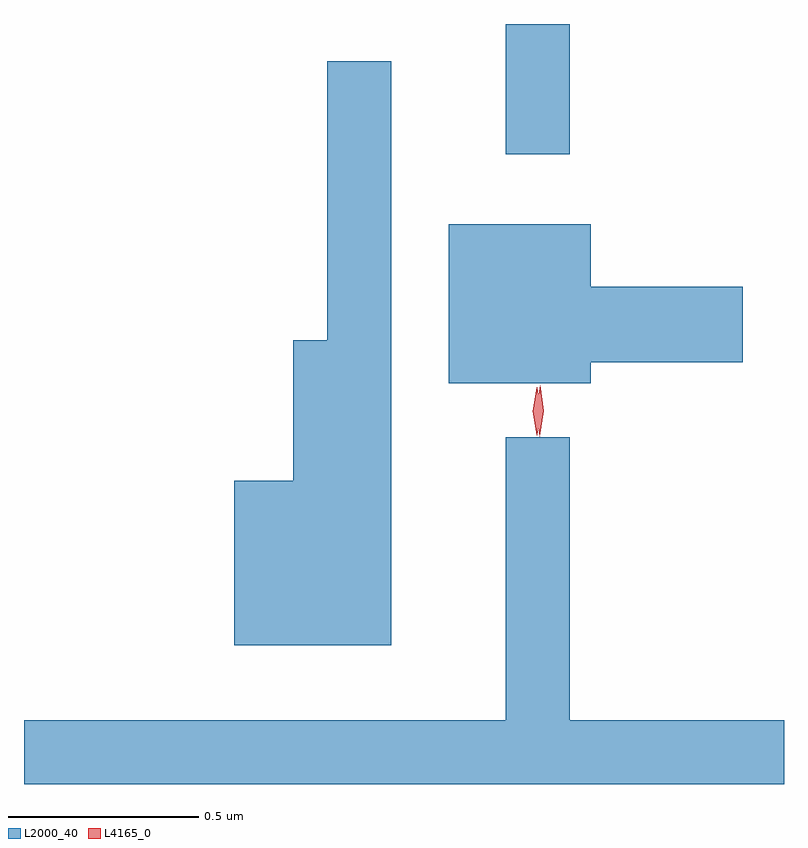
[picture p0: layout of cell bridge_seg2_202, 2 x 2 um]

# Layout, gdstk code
import gdstk
lib = gdstk.Library(unit=1e-6, precision=1e-09)
def R(c, l, rs):  # rectangles x0, y0, x1, y1
    for r in rs: c.add(gdstk.rectangle(r[:2], r[2:], *l))
def P(c, l, *ps):  # polygons
    for p in ps: c.add(gdstk.Polygon(p, *l))
L2000_40 = (2000, 40)
L4165_0 = (4165, 0)

bridge_seg2_202 = lib.new_cell('bridge_seg2_202')
R(bridge_seg2_202, L2000_40, [(818.741,1005.673,818.909,1006.016)])
P(bridge_seg2_202, L2000_40, [(818.439,1005.918),(818.271,1005.918),(818.271,1005.184),(818.181,1005.184),(818.181,1004.814),(818.026,1004.814),(818.026,1004.381),(818.439,1004.381)],
  [(818.964,1005.126),(819.364,1005.126),(819.364,1005.324),(818.964,1005.324),(818.964,1005.489),(818.591,1005.489),(818.591,1005.071),(818.964,1005.071)],
  [(819.473,1004.184),(818.909,1004.184),(818.909,1004.928),(818.741,1004.928),(818.741,1004.184),(817.473,1004.184),(817.473,1004.016),(819.473,1004.016)])
P(bridge_seg2_202, L4165_0, [(818.83,1004.93),(818.83,1004.931),(818.821,1004.998),(818.831,1005.065),(818.832,1005.066),(818.832,1005.065),(818.841,1004.998),(818.83,1004.931)],
  [(818.822,1004.934),(818.822,1004.934),(818.812,1004.997),(818.822,1005.06),(818.822,1005.06),(818.823,1005.06),(818.832,1004.997),(818.823,1004.934)])

lib.write_gds('bridge_seg2_202.gds')
